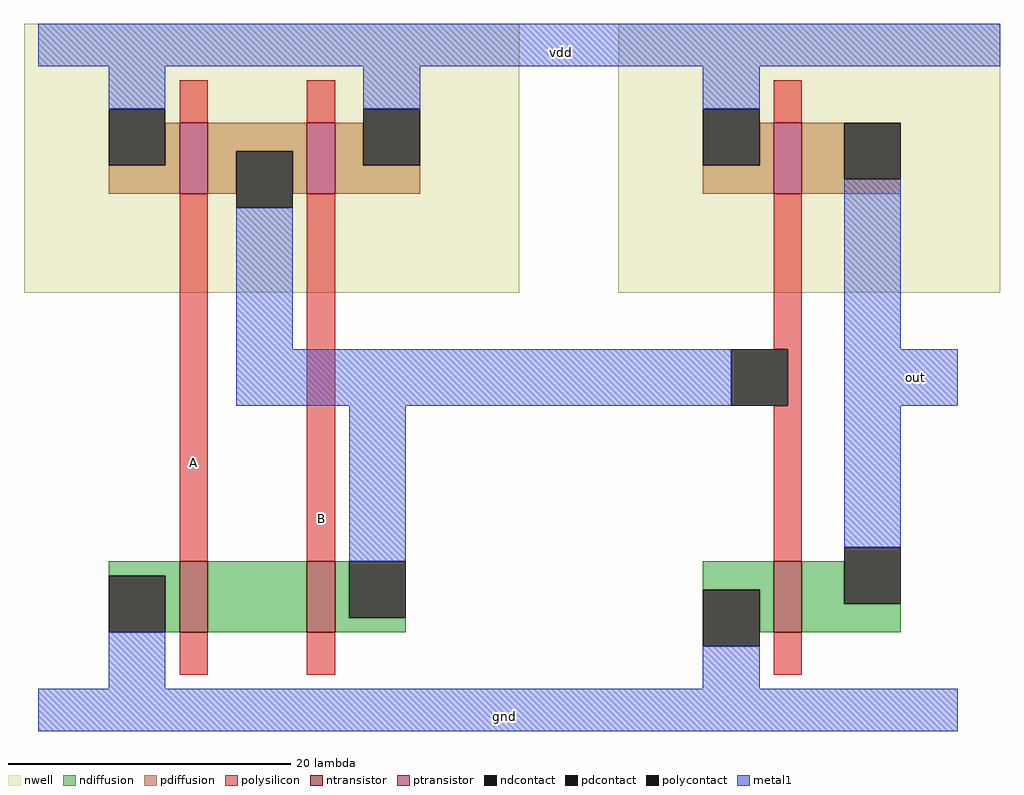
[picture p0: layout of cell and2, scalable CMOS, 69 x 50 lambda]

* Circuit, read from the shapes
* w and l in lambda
.subckt and2 A B gnd out vdd
M1 n1 A gnd VSUBS nfet w=5 l=2
M2 n2 B n1 VSUBS nfet w=5 l=2
M3 out n2 gnd VSUBS nfet w=5 l=2
M4 n2 A vdd n3 pfet w=5 l=2
M5 vdd B n2 n3 pfet w=5 l=2
M6 out n2 vdd n4 pfet w=5 l=2
.ends

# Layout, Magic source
magic
tech scmos
<< nwell >>
rect 441 -37 476 -18
rect 483 -37 510 -18
<< ntransistor >>
rect 452 -61 454 -56
rect 461 -61 463 -56
rect 494 -61 496 -56
<< ptransistor >>
rect 452 -30 454 -25
rect 461 -30 463 -25
rect 494 -30 496 -25
<< ndiffusion >>
rect 447 -57 452 -56
rect 451 -61 452 -57
rect 454 -61 461 -56
rect 463 -60 464 -56
rect 463 -61 468 -60
rect 489 -58 494 -56
rect 493 -61 494 -58
rect 496 -59 499 -56
rect 496 -61 503 -59
<< pdiffusion >>
rect 451 -28 452 -25
rect 447 -30 452 -28
rect 454 -27 461 -25
rect 454 -30 456 -27
rect 460 -30 461 -27
rect 463 -28 465 -25
rect 463 -30 469 -28
rect 493 -28 494 -25
rect 489 -30 494 -28
rect 496 -29 499 -25
rect 496 -30 503 -29
<< ndcontact >>
rect 447 -61 451 -57
rect 464 -60 468 -56
rect 489 -62 493 -58
rect 499 -59 503 -55
<< pdcontact >>
rect 447 -28 451 -24
rect 456 -31 460 -27
rect 465 -28 469 -24
rect 489 -28 493 -24
rect 499 -29 503 -25
<< polysilicon >>
rect 452 -25 454 -22
rect 461 -25 463 -22
rect 452 -56 454 -30
rect 494 -25 496 -22
rect 461 -56 463 -30
rect 494 -41 496 -30
rect 495 -45 496 -41
rect 494 -56 496 -45
rect 452 -64 454 -61
rect 461 -64 463 -61
rect 494 -64 496 -61
<< polycontact >>
rect 491 -45 495 -41
<< metal1 >>
rect 442 -21 510 -18
rect 447 -24 451 -21
rect 465 -24 469 -21
rect 489 -24 493 -21
rect 456 -41 460 -31
rect 499 -41 503 -29
rect 456 -45 491 -41
rect 499 -45 507 -41
rect 464 -56 468 -45
rect 499 -55 503 -45
rect 447 -65 451 -61
rect 489 -65 493 -62
rect 442 -68 507 -65
<< labels >>
rlabel polysilicon 453 -49 453 -49 1 A
rlabel polysilicon 462 -53 462 -53 1 B
rlabel metal1 504 -43 504 -43 1 out
rlabel metal1 479 -20 479 -20 5 vdd
rlabel metal1 475 -67 475 -67 1 gnd
<< end >>
